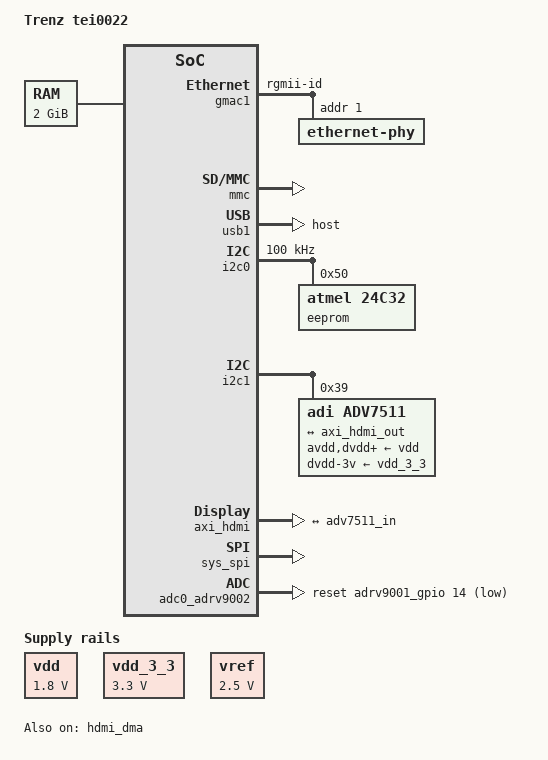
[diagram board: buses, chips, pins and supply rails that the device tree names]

#include "socfpga_cyclone5.dtsi"
#include "dt-bindings/interrupt-controller/irq.h"
#include <dt-bindings/gpio/gpio.h>

/ {
	model = "Trenz tei0022";
	compatible = "altr,socfpga-cyclone5", "altr,socfpga";

	chosen {
		bootargs = "earlyprintk";
		stdout-path = "serial0:115200n8";
	};

	memory {
		name = "memory";
		device_type = "memory";
		reg = <0x0 0x80000000>;
	};

	aliases {
		ethernet0 = &gmac1;
	};


	dma_clk: dma_clk {
		#clock-cells = <0x0>;
		compatible = "fixed-clock";
		clock-frequency = <100000000>;
		clock-output-names = "dma_clock";
	};

	sys_clk: sys_clk {
		#clock-cells = <0x0>;
		compatible = "fixed-clock";
		clock-frequency = <80000000>;
		clock-output-names = "sys_clock";
	};

	hdmi_pll: hdmi_pll {
		compatible = "altr,altera_iopll-18.1";
		#clock-cells = <1>;
			hdmi_pll_outclk0: hdmi_pll_outclk0 {
			compatible = "fixed-clock";
			#clock-cells = <0>;
			clock-frequency = <148500000>;
			clock-output-names = "hdmi_pll-outclk0";
		}; 
	};

	/* add additional system clock device tree entries here */

        vdd: regulator-vdd {
                compatible = "regulator-fixed";
                regulator-name = "fixed-supply";
                regulator-min-microvolt = <1800000>;
                regulator-max-microvolt = <1800000>;
                regulator-always-on;
        };

        vdd_3_3: regulator-vdd {
                compatible = "regulator-fixed";
                regulator-name = "fixed-supply";
                regulator-min-microvolt = <3300000>;
                regulator-max-microvolt = <3300000>;
                regulator-always-on;
        };

        vref: regulator-vref {
                compatible = "regulator-fixed";
                regulator-name = "fixed-supply";
                regulator-min-microvolt = <2500000>;
                regulator-max-microvolt = <2500000>;
                regulator-always-on;
        };


	soc {
		clkmgr@ffd04000 {
			clocks {
				osc1 {
					clock-frequency = <25000000>;
				};
			};
		};

		gmac1: ethernet@ff702000 {

			#address-cells = <1>;
        		#size-cells = <0>;

			status = "okay";
			phy-mode = "rgmii-id";

       			ethernet-phy@1 {
				reg = <1>;
				adi,rx-internal-delay-ps = <2000>;
				adi,tx-internal-delay-ps = <2000>;
        		};

		};

		timer0: timer0@ffc08000 {
			clock-frequency = <100000000>;
		};

		timer1: timer1@ffc09000 {
			clock-frequency = <100000000>;
		};

		timer2: timer2@ffd00000 {
			clock-frequency = <25000000>;
		};

		timer3: timer3@ffd01000 {
			clock-frequency = <25000000>;
		};

		uart0: serial0@ffc02000 {
			clock-frequency = <100000000>;
		};

		uart1: serial1@ffc03000 {
			clock-frequency = <100000000>;
		};

		mmc: dwmmc0@ff704000 {
			status = "okay";
			supports-highspeed;
			altr,dw-mshc-ciu-div = <0x3>;
			altr,dw-mshc-sdr-timing = <0x0 0x3>;
			slot@0 {
				reg = <0x0>;
				bus-width = <0x4>;
			};
		};

		usb1: usb@ffb40000 {
			status = "okay";
			enable-dynamic-fifo = <1>;
			host-rx-fifo-size = <0xa00>;
			host-perio-tx-fifo-size = <0xa00>;
			host-nperio-tx-fifo-size = <0xa00>;
			dma-desc-enable = <0>;
			dr_mode = "host";
		};

		i2c0: i2c@ffc04000 {
			status = "okay";
			speed-mode = <0>;
			#address-cells = <1>;
			#size-cells = <0>;
		};

		i2c1: i2c@ffc05000 {
			status = "okay";
			speed-mode = <0>;
			#address-cells = <1>;
			#size-cells = <0>;

			/* adv7511 device tree entry. for additional information see /linux/Documentation/devicetree/bindings/display/bridge/adi,adv7511.txt */

			adv7511: adv7511@39 {
				compatible = "adi,adv7511";
				reg = <0x39>, <0x3f>;
				reg-names = "primary", "edid";

				adi,input-depth = <8>;
				adi,input-colorspace = "yuv422";
				adi,input-clock = "1x";
				adi,input-style = <1>;
				adi,input-justification = "right";
				adi,clock-delay = <(0)>;

				avdd-supply = <&vdd>;
				dvdd-supply = <&vdd>;
				pvdd-supply = <&vdd>;
				dvdd-3v-supply = <&vdd_3_3>;
				bgvdd-supply = <&vdd>;

				status = "okay";

				ports {
					#address-cells = <1>;
					#size-cells = <0>;

					port@0 {
						reg = <0>;
						adv7511_in: endpoint {
							remote-endpoint = <&axi_hdmi_out>;
						};
					}; 

					port@1 {
						reg = <1>;
						
					};

				}; 
			};
		};


		/* add additional hps peripheral device tree entries here */


		sys_hps_bridges: bridge@ff200000 {
			compatible = "simple-bus";
			reg = <0xff200000 0x00200000>;
			reg-names = "axi_h2f_lw";
			#address-cells = <2>;
			#size-cells = <1>;
			ranges = <0x00000001 0x00010000 0xff210000 0x00000008>,
				<0x00000001 0x00020010 0xff220010 0x00000010>,
				<0x00000001 0x00020020 0xff220020 0x00000010>,
				<0x00000001 0x00020060 0xff220060 0x00000080>,
				<0x00000001 0x00030000 0xff230000 0x00006000>,
				<0x00000001 0x0003A000 0xff23A000 0x00002000>,
				<0x00000001 0x00040000 0xff240000 0x00000800>,
				<0x00000001 0x00040800 0xff240800 0x00000800>,
				<0x00000001 0x00041000 0xff241000 0x00000010>,
				<0x00000001 0x00090000 0xff290000 0x00000800>,
				<0x00000001 0x000a0000 0xff2a0000 0x00010000>;

			sys_id: sys-id@100010000 {
				compatible = "altr,sysid-1.0";
				reg = <0x00000001 0x00010000 0x08>;
			};


			/* adi axi_dma device tree entry. for additional information see /linux/Documentation/devicetree/bindings/dma/adi,axi-dmac.txt */

			hdmi_dma: hdmi-dma@100090000 {
				compatible = "adi,axi-dmac-1.00.a";
				reg = <0x00000001 0x00090000 0x0800>;
				#dma-cells = <1>;
				interrupt-parent = <&intc>;
				interrupts = <0 44 4>;
				clocks = <&dma_clk 0>;
				status = "okay";

				adi,channels {
					#size-cells = <0>;
					#address-cells = <1>;

					dma-channel@0 {
						reg = <0>;
						adi,source-bus-width = <64>;
						adi,source-bus-type = <0>;
						adi,destination-bus-width = <64>;
						adi,destination-bus-type = <1>;
					};
				};
			};


			axi_hdmi: axi-hdmi@1000a0000 {
				compatible = "adi,axi-hdmi-tx-1.00.a";
				reg = <0x00000001 0x000a0000 0x10000>;
				dmas = <&hdmi_dma 0>;
				dma-names = "video";
				clocks = <&hdmi_pll 0>;
				status = "okay";

				port {
					axi_hdmi_out: endpoint {
						remote-endpoint = <&adv7511_in>;
					};
				};
			};


			sys_spi: spi@0x100020060 {
				compatible = "altr,spi-1.0";
				reg = <0x00000001 0x00020060 0x20>;
				interrupt-parent = <&intc>;
				interrupts = <0 45 4>;
				clocks = <&dma_clk>;
				#address-cells = <0x1>;
				#size-cells = <0x0>;
				bus-num = <0x0>;
				num-chipselect = <0x1>;
			}; 

			adrv9001_gpio: gpio_inout@100041000 {
				compatible = "altr,pio-1.0";
				reg = <0x00000001 0x00041000 0x00000010>;
				interrupt-parent = <&intc>;
				interrupts = <0 46 4>;
				/*interrupt-controller;
				#interrupt-cells = <2>;*/
				altr,gpio-bank-width = <19>;
				altr,interrupt-type = <4>;
				altr,interrupt_type = <4>;
				level_trigger = <1>;
				resetvalue = <0>;
				#gpio-cells = <2>;
				gpio-controller;
			};

			rx_dma: rx-dma@100040000 {
				compatible = "adi,axi-dmac-1.00.a";
				reg = <0x00000001 0x00040000 0x800>;
				#dma-cells = <1>;
				interrupt-parent = <&intc>;
				interrupts = <0 42 4>;
				clocks = <&dma_clk>;

				adi,channels {
					#size-cells = <0>;
					#address-cells = <1>;

					dma-channel@0 {
						reg = <0>;
						adi,source-bus-width = <64>;
						adi,source-bus-type = <2>;
						adi,destination-bus-width = <64>;
						adi,destination-bus-type = <0>;
					};
				};

			};

			tx_dma: tx-dma@100040800 {
				compatible = "adi,axi-dmac-1.00.a";
				reg = <0x00000001 0x00040800 0x800>;
				#dma-cells = <1>;
				interrupt-parent = <&intc>;
				interrupts = <0 43 4>;
				clocks = <&dma_clk>;

				adi,channels {
					#size-cells = <0>;
					#address-cells = <1>;

					dma-channel@0 {
						reg = <0>;
						adi,source-bus-width = <64>;
						adi,source-bus-type = <0>;
						adi,destination-bus-width = <64>;
						adi,destination-bus-type = <1>;
					};
				};
			};

			axi_adrv9002_core_rx: axi-adrv9002-rx-lpc@100030000 {
				compatible = "adi,axi-adrv9002-rx-1.0";
				reg = <0x00000001 0x00030000 0x6000>;
				clocks = <&adc0_adrv9002 0>;
				dmas = <&rx_dma 0>;
				dma-names = "rx";
				spibus-connected = <&adc0_adrv9002>;
			};

			axi_adrv9002_core_tx: axi-adrv9002-tx-lpc@10003A000 {
				compatible = "adi,axi-adrv9002-rx2tx2-1.0";
				reg = <0x00000001 0x0003A000 0x2000>;
				clocks = <&adc0_adrv9002 1>;
				clock-names = "sampl_clk";
				dmas = <&tx_dma 0>;
				dma-names = "tx";
				adi,axi-dds-default-scale = <0x800>;
				adi,axi-dds-default-frequency = <2000000>;
			};


			/* add additional FPGA peripheral device tree entries here */

		};
	};

};

#define fmc_spi sys_spi

#include "adi-adrv9002.dtsi"

&adc0_adrv9002 {
	interrupt-parent = <&adrv9001_gpio>;

	compatible = "adi,adrv9002-rx2tx2";
	reset-gpios = <&adrv9001_gpio 14 GPIO_ACTIVE_LOW>;
	ssi-sync-gpios = <&adrv9001_gpio 20 GPIO_ACTIVE_HIGH>;

	clock-output-names = "rx1_sampl_clk", "tx1_sampl_clk", "tdd1_intf_clk";
};

&rx0 {
	orx-gpios = <&adrv9001_gpio 0 GPIO_ACTIVE_HIGH>; 
};

&rx1 {
	orx-gpios = <&adrv9001_gpio 1 GPIO_ACTIVE_HIGH>;
};


&i2c0 {
	status = "okay";
	clock-frequency = <100000>;

	eeprom@50 {
		compatible = "atmel,24c32";
		reg = <0x50>;
		pagesize = <32>;
	};
};





